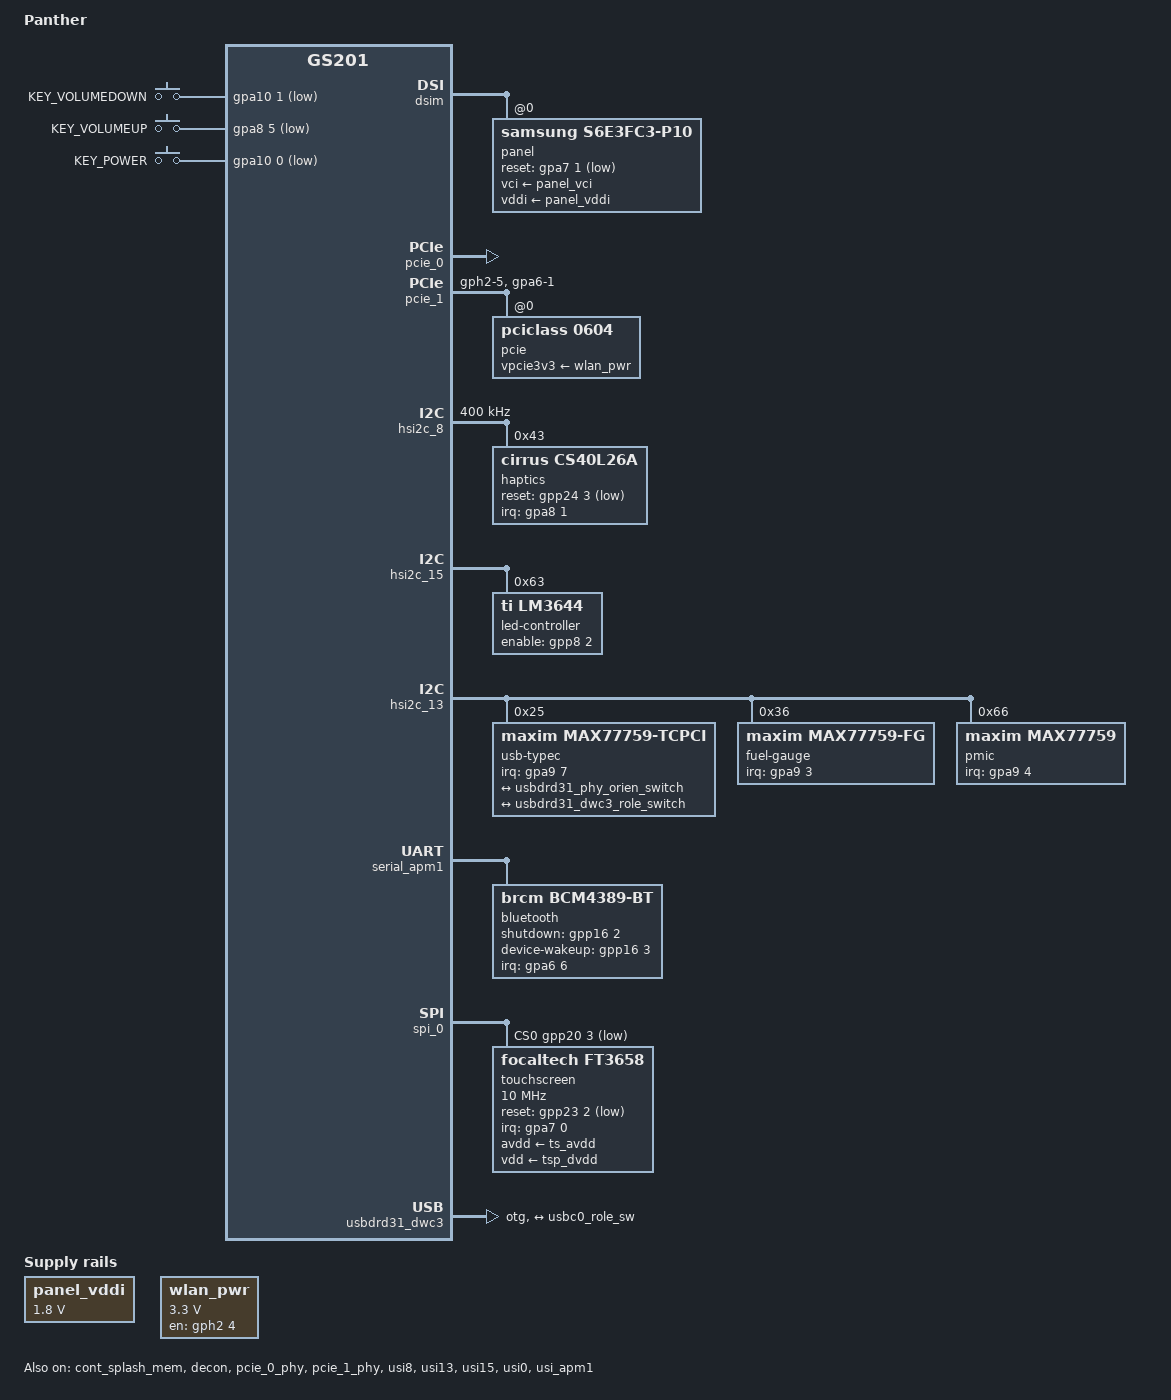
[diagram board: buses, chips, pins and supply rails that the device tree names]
// SPDX-License-Identifier: GPL-2.0-only
/*
 * Panther Device Tree
 *
 * Copyright 2021-2023 Google LLC
 * Copyright 2023 Linaro Ltd - <peter.griffin@linaro.org>
 */

/dts-v1/;

#include <dt-bindings/gpio/gpio.h>
#include <dt-bindings/input/input.h>
#include <dt-bindings/interrupt-controller/irq.h>
#include <dt-bindings/leds/common.h>
#include <dt-bindings/soc/samsung,exynos-usi.h>
#include <dt-bindings/usb/pd.h>
#include "gs101-pinctrl.h"
#include "gs201-pixel-common.dtsi"

/ {
	model = "Panther";
	compatible = "google,gs201-panther", "google,gs201";

	/*
	 * The bootloader picks the base DTB whose soc_id matches the product
	 * id (0x09855000) ORed with the major revision of the chip. Retail
	 * units are B0, which is revision 1.
	 */
	soc_id = <0x09855001 0x0>;

	gpio-keys {
		compatible = "gpio-keys";
		pinctrl-0 = <&key_voldown>, <&key_volup>, <&key_power>;
		pinctrl-names = "default";

		button-vol-down {
			label = "KEY_VOLUMEDOWN";
			linux,code = <KEY_VOLUMEDOWN>;
			gpios = <&gpa10 1 GPIO_ACTIVE_LOW>;
			wakeup-source;
		};

		button-vol-up {
			label = "KEY_VOLUMEUP";
			linux,code = <KEY_VOLUMEUP>;
			gpios = <&gpa8 5 GPIO_ACTIVE_LOW>;
			wakeup-source;
		};

		button-power {
			label = "KEY_POWER";
			linux,code = <KEY_POWER>;
			gpios = <&gpa10 0 GPIO_ACTIVE_LOW>;
			wakeup-source;
		};
	};

	reboot-mode {
		compatible = "nvmem-reboot-mode";
		nvmem-cells = <&nvmem_reboot_mode>;
		nvmem-cell-names = "reboot-mode";
		mode-bootloader = <0x800000fc>;
		mode-charge = <0x8000000a>;
		mode-dm-verity-device-corrupted = <0x80000050>;
		mode-fastboot = <0x800000fa>;
		mode-reboot-ab-update = <0x80000052>;
		mode-recovery = <0x800000ff>;
		mode-rescue = <0x800000f9>;
		mode-shutdown-thermal = <0x80000051>;
		mode-shutdown-thermal-battery = <0x80000051>;
	};

	/*
	 * TODO: This is BUCKA of the S2MPG13 sub-PMIC, which stays on and is
	 * not driven by Linux yet.
	 */
	panel_vddi: regulator-panel-vddi {
		compatible = "regulator-fixed";
		regulator-name = "panel_vddi";
		regulator-min-microvolt = <1800000>;
		regulator-max-microvolt = <1800000>;
		regulator-always-on;
	};

	wlan_pwr: regulator-wlan {
		compatible = "regulator-fixed";
		regulator-name = "wlan-reg-on";
		regulator-min-microvolt = <3300000>;
		regulator-max-microvolt = <3300000>;
		gpio = <&gph2 4 GPIO_ACTIVE_HIGH>;
		enable-active-high;
		startup-delay-us = <200000>;
		pinctrl-0 = <&wlan_reg_on>;
		pinctrl-names = "default";
	};

	cp-shmem {
		compatible = "samsung,exynos-cp-shmem";
		cp_num = <0>;
		use_mem_map_on_cp = <0>;
		regions {
			ipc {
				region,name = "IPC";
				region,index = <3>;
				region,rmem = <0>;
				region,offset = <0>;
				region,size = <0x800000>;
				region,cached = <1>;
			};

			msi {
				region,name = "MSI";
				region,index = <11>;
				region,rmem = <1>;
				region,offset = <0>;
				region,size = <0x1000>;
				region,cached = <0>;
			};

			pktproc {
				region,name = "PKTPROC";
				region,index = <7>;
				region,rmem = <2>;
				region,offset = <0>;
				region,size = <0x1c00000>;
			};

			pktproc-ul {
				region,name = "PKTPROC_UL";
				region,index = <8>;
				region,rmem = <2>;
				region,offset = <0x1c00000>;
				region,size = <0x400000>;
			};
		};
	};

	cpif {
		compatible = "samsung,exynos-cp";
		pci_ch_num = <0>;
		pci_db_addr = <0x14e60000>;
		mif,name = "s5300";
		mif,cp_num = <0>;
		mif,modem_type = <1>;
		mif,protocol = <1>;
		mif,ipc_version = <0x32>;
		mif,link_type = <1>;
		mif,link_name = "PCIE";
		mif,link_attrs = <0x17c8>;
		mif,interrupt_types = <1>;
		mif,capability_check = <1>;
		mif,int_ap2cp_msg = <0>;
		mif,int_ap2cp_wakeup = <1>;
		mif,int_ap2cp_status = <2>;
		mif,int_ap2cp_active = <3>;
		mif,int_ap2cp_lcd_status = <4>;
		mif,int_ap2cp_pcie_link_ack = <14>;
		mif,int_ap2cp_uart_noti = <15>;
		mif,irq_cp2ap_msg = <0>;
		mif,irq_cp2ap_status = <2>;
		mif,irq_cp2ap_active = <3>;
		mif,irq_cp2ap_wakelock = <8>;
		mif,irq_cp2ap_ratmode = <9>;
		mif,cp2ap_active_not_alive = <0>;
		legacy_fmt_head_tail_offset = <0x8>;
		legacy_fmt_buffer_offset = <0x1000>;
		legacy_fmt_txq_size = <0x1000>;
		legacy_fmt_rxq_size = <0x1000>;
		legacy_raw_head_tail_offset = <0x18>;
		legacy_raw_buffer_offset = <0x3000>;
		legacy_raw_txq_size = <0x1fd000>;
		legacy_raw_rxq_size = <0x200000>;
		legacy_raw_rx_buffer_cached = <0>;
		offset_srinfo_offset = <0x64>;
		offset_capability_offset = <0x70>;
		offset_boot_indicator = <0x90>;
		srinfo_offset = <0x400000>;
		srinfo_size = <0x300000>;
		capability_offset = <0xa0>;
		ap_capability_0 = <0>;
		ap_capability_1 = <0>;
		ap2cp_msg = <2 0x800>;
		cp2ap_msg = <2 0x804>;
		ap2cp_united_status = <2 0x808>;
		cp2ap_united_status = <2 0x80c>;
		ap2cp_kerneltime = <2 0x824>;
		ap2cp_handover_block_info = <2 0x82c>;
		sbi_lcd_status_mask = <0x1>;
		sbi_lcd_status_pos = <27>;
		sbi_crash_type_mask = <0xf>;
		sbi_crash_type_pos = <23>;
		sbi_uart_noti_mask = <0x1>;
		sbi_uart_noti_pos = <16>;
		sbi_ds_det_mask = <0x3>;
		sbi_ds_det_pos = <14>;
		sbi_pda_active_mask = <0x1>;
		sbi_pda_active_pos = <5>;
		sbi_ap_status_mask = <0xf>;
		sbi_ap_status_pos = <1>;
		sbi_cp_rat_mode_mask = <0x3f>;
		sbi_cp_rat_mode_pos = <26>;
		sbi_cp2ap_wakelock_mask = <0x1>;
		sbi_cp2ap_wakelock_pos = <6>;
		sbi_lte_active_mask = <0x1>;
		sbi_lte_active_pos = <5>;
		sbi_cp_status_mask = <0xf>;
		sbi_cp_status_pos = <1>;
		sbi_ap2cp_kerneltime_sec_mask = <0xfff>;
		sbi_ap2cp_kerneltime_sec_pos = <20>;
		sbi_ap2cp_kerneltime_usec_mask = <0xfffff>;
		sbi_ap2cp_kerneltime_usec_pos = <0>;
		pktproc_use_36bit_addr = <0>;
		pktproc_cp_base = <0x0 0x20000000>;

		pktproc_dl_support = <1>;
		pktproc_dl_version = <2>;
		pktproc_dl_info_rgn_offset = <0x0>;
		pktproc_dl_info_rgn_size = <0x1000>;
		pktproc_dl_desc_rgn_offset = <0x1000>;
		pktproc_dl_desc_rgn_size = <0xff000>;
		pktproc_dl_buff_rgn_offset = <0x100000>;
		pktproc_dl_buff_rgn_size = <0x1b00000>;
		pktproc_dl_info_rgn_cached = <1>;
		pktproc_dl_desc_rgn_cached = <1>;
		pktproc_dl_buff_rgn_cached = <1>;
		pktproc_dl_desc_mode = <1>;
		pktproc_dl_num_queue = <4>;
		pktproc_dl_use_exclusive_irq = <1>;
		pktproc_dl_use_hw_iocc = <1>;
		pktproc_dl_max_packet_size = <0x630>;
		pktproc_dl_use_dedicated_baaw = <0>;

		pktproc_ul_support = <1>;
		pktproc_ul_info_rgn_offset = <0x1c00000>;
		pktproc_ul_info_rgn_size = <0x1000>;
		pktproc_ul_desc_rgn_offset = <0x1c01000>;
		pktproc_ul_desc_rgn_size = <0x8f000>;
		pktproc_ul_buff_rgn_offset = <0x1c90000>;
		pktproc_ul_buff_rgn_size = <0x370000>;
		pktproc_ul_padding_required = <1>;
		pktproc_ul_num_queue = <2>;
		pktproc_ul_max_packet_size = <0x800>;
		pktproc_ul_hiprio_ack_only = <1>;
		pktproc_ul_info_rgn_cached = <1>;
		pktproc_ul_desc_rgn_cached = <1>;
		pktproc_ul_buff_rgn_cached = <1>;
		pktproc_ul_use_hw_iocc = <1>;

		iodevs {
			io_device_0 {
				iod,name = "umts_ipc";
				iod,ch = <0xf5>;
				iod,format = <0>;
				iod,io_type = <1>;
				iod,link_type = <1>;
				iod,attrs = <0x2000>;
				iod,ch_count = <2>;
			};

			io_device_1 {
				iod,name = "umts_rfs0";
				iod,ch = <0x29>;
				iod,format = <1>;
				iod,io_type = <1>;
				iod,link_type = <1>;
				iod,attrs = <0>;
			};

			io_device_2 {
				iod,name = "umts_router";
				iod,ch = <0x15>;
				iod,format = <1>;
				iod,io_type = <1>;
				iod,link_type = <1>;
				iod,attrs = <0>;
			};

			io_device_3 {
				iod,name = "umts_dm0";
				iod,ch = <0x51>;
				iod,format = <1>;
				iod,io_type = <1>;
				iod,link_type = <1>;
				iod,attrs = <0x4000>;
			};

			io_device_4 {
				iod,name = "umts_loopback";
				iod,ch = <0x52>;
				iod,format = <1>;
				iod,io_type = <1>;
				iod,link_type = <1>;
				iod,attrs = <0>;
			};

			io_device_5 {
				iod,name = "rmnet";
				iod,ch = <0xb5>;
				iod,format = <1>;
				iod,io_type = <2>;
				iod,link_type = <1>;
				iod,attrs = <0x2000>;
				iod,ch_count = <30>;
			};

			io_device_6 {
				iod,name = "umts_dummy";
				iod,ch = <0xd3>;
				iod,format = <1>;
				iod,io_type = <2>;
				iod,link_type = <1>;
				iod,attrs = <0>;
			};

			io_device_7 {
				iod,name = "multipdp";
				iod,ch = <0>;
				iod,format = <3>;
				iod,io_type = <3>;
				iod,link_type = <1>;
				iod,attrs = <0>;
			};

			io_device_8 {
				iod,name = "umts_boot0";
				iod,ch = <0xf1>;
				iod,format = <4>;
				iod,io_type = <0>;
				iod,link_type = <1>;
				iod,attrs = <0x200>;
			};

			io_device_9 {
				iod,name = "umts_rcs0";
				iod,ch = <0x5b>;
				iod,format = <0>;
				iod,io_type = <1>;
				iod,link_type = <1>;
				iod,attrs = <0>;
			};

			io_device_10 {
				iod,name = "umts_rcs1";
				iod,ch = <0x5c>;
				iod,format = <1>;
				iod,io_type = <1>;
				iod,link_type = <1>;
				iod,attrs = <0>;
			};

			io_device_11 {
				iod,name = "umts_wfc0";
				iod,ch = <0x5d>;
				iod,format = <0>;
				iod,io_type = <1>;
				iod,link_type = <1>;
				iod,attrs = <0>;
			};

			io_device_12 {
				iod,name = "umts_wfc1";
				iod,ch = <0x5e>;
				iod,format = <1>;
				iod,io_type = <1>;
				iod,link_type = <1>;
				iod,attrs = <0>;
			};

			io_device_13 {
				iod,name = "oem_ipc";
				iod,ch = <0x81>;
				iod,format = <0>;
				iod,io_type = <1>;
				iod,link_type = <1>;
				iod,attrs = <0x2000>;
				iod,ch_count = <8>;
			};

			io_device_14 {
				iod,name = "oem_test";
				iod,ch = <0x89>;
				iod,format = <1>;
				iod,io_type = <1>;
				iod,link_type = <1>;
				iod,attrs = <0>;
			};
		};
	};
};

&acpm_ipc {
	pmic-1 {
		regulators {
			tsp_dvdd: ldo25m {
				regulator-name = "tsp_dvdd";
				regulator-min-microvolt = <1600000>;
				regulator-max-microvolt = <1950000>;
			};

			ts_avdd: ldo26m {
				regulator-name = "ts_avdd";
				regulator-min-microvolt = <2500000>;
				regulator-max-microvolt = <3000000>;
			};

			panel_vci: ldo27m {
				regulator-name = "panel_vci";
				regulator-min-microvolt = <3025000>;
				regulator-max-microvolt = <3025000>;
			};
		};
	};
};

&cont_splash_mem {
	reg = <0x0 0xfac00000 (1080 * 2400 * 4)>;

	status = "okay";
};

&decon {
	status = "okay";
};

&dsim {
	status = "okay";

	panel@0 {
		compatible = "samsung,s6e3fc3-p10", "samsung,s6e3fc3";
		reg = <0>;

		reset-gpios = <&gpa7 1 GPIO_ACTIVE_LOW>;
		vci-supply = <&panel_vci>;
		vddi-supply = <&panel_vddi>;
	};
};

&framebuffer0 {
	width = <1080>;
	height = <2400>;
	stride = <(1080 * 4)>;
	format = "a8r8g8b8";

	status = "okay";
};

&pcie_0 {
	status = "okay";

	modem {
		compatible = "samsung,s5300-modem";
		memory-region = <&cp_rmem>, <&cp_msi_rmem>, <&cp_rmem1>;
		ap2cp-pda-active-gpios = <&gph1 1 GPIO_ACTIVE_HIGH>;
		ap2cp-cp-pwr-on-gpios = <&gph1 2 GPIO_ACTIVE_HIGH>;
		ap2cp-nreset-gpios = <&gph1 3 GPIO_ACTIVE_HIGH>;
		ap2cp-cp-wrst-gpios = <&gph1 6 GPIO_ACTIVE_HIGH>;
		ap2cp-pm-wrst-gpios = <&gpa0 3 GPIO_ACTIVE_HIGH>;
		ap2cp-wakeup-gpios = <&gph0 2 GPIO_ACTIVE_HIGH>;
		ap2cp-dump-noti-gpios = <&gph0 3 GPIO_ACTIVE_HIGH>;
		cp2ap-cp-wrst-gpios = <&gpa0 2 GPIO_ACTIVE_HIGH>;
		cp2ap-ps-hold-gpios = <&gpa8 2 GPIO_ACTIVE_HIGH>;
		cp2ap-wakeup-gpios = <&gpa8 3 GPIO_ACTIVE_HIGH>;
		cp2ap-phone-active-gpios = <&gpa8 4 GPIO_ACTIVE_HIGH>;
		status = "disabled";
	};
};

&pcie_0_phy {
	status = "okay";
};

&pcie_1 {
	pinctrl-0 = <&pcie1_clkreq>, <&pcie1_perst>, <&wlan_dev_wake>,
		    <&wlan_host_wake>;
	pinctrl-names = "default";

	status = "okay";

	pcie@0,0 {
		compatible = "pciclass,0604";
		device_type = "pci";
		reg = <0x0 0x0 0x0 0x0 0x0>;
		bus-range = <0x01 0xff>;
		#address-cells = <3>;
		#size-cells = <2>;
		ranges;
		vpcie3v3-supply = <&wlan_pwr>;

		wifi@0,0 {
			compatible = "pci14e4,4441";
			reg = <0x10000 0x0 0x0 0x0 0x0>;
			brcm,board-type = "google,gs201-panther";
			memory-region = <&wifi_dma_pool>;
		};
	};
};

&pcie_1_phy {
	status = "okay";
};

&pinctrl_far_alive {
	hapt_amp_irq: hapt-amp-irq-pins {
		samsung,pins = "gpa8-1";
		samsung,pin-function = <GS101_PIN_FUNC_EINT>;
		samsung,pin-pud = <GS101_PIN_PULL_NONE>;
		samsung,pin-drv = <GS101_PIN_DRV_2_5_MA>;
	};

	bt_host_wake: bt-host-wake-pins {
		samsung,pins = "gpa6-6";
		samsung,pin-function = <GS101_PIN_FUNC_EINT>;
		samsung,pin-pud = <GS101_PIN_PULL_DOWN>;
		samsung,pin-drv = <GS101_PIN_DRV_2_5_MA>;
	};

	key_volup: key-volup-pins {
		samsung,pins = "gpa8-5";
		samsung,pin-function = <GS101_PIN_FUNC_EINT>;
		samsung,pin-pud = <GS101_PIN_PULL_NONE>;
		samsung,pin-drv = <GS101_PIN_DRV_2_5_MA>;
	};

	ts_irq: ts-irq-pins {
		samsung,pins = "gpa7-0";
		samsung,pin-function = <GS101_PIN_FUNC_EINT>;
		samsung,pin-pud = <GS101_PIN_PULL_UP>;
		samsung,pin-drv = <GS101_PIN_DRV_2_5_MA>;
	};
	wlan_host_wake: wlan-host-wake-pins {
		samsung,pins = "gpa6-1";
		samsung,pin-function = <GS101_PIN_FUNC_EINT>;
		samsung,pin-pud = <GS101_PIN_PULL_DOWN>;
		samsung,pin-drv = <GS101_PIN_DRV_2_5_MA>;
	};

};

&pinctrl_gpio_alive {
	key_power: key-power-pins {
		samsung,pins = "gpa10-0";
		samsung,pin-function = <GS101_PIN_FUNC_EINT>;
		samsung,pin-pud = <GS101_PIN_PULL_UP>;
		samsung,pin-drv = <GS101_PIN_DRV_2_5_MA>;
	};

	key_voldown: key-voldown-pins {
		samsung,pins = "gpa10-1";
		samsung,pin-function = <GS101_PIN_FUNC_EINT>;
		samsung,pin-pud = <GS101_PIN_PULL_UP>;
		samsung,pin-drv = <GS101_PIN_DRV_2_5_MA>;
	};

	typec_int: typec-int-pins {
		samsung,pins = "gpa9-7";
		samsung,pin-function = <GS101_PIN_FUNC_EINT>;
		samsung,pin-pud = <GS101_PIN_PULL_UP>;
		samsung,pin-drv = <GS101_PIN_DRV_2_5_MA>;
	};

	if_pmic_int: if-pmic-int-pins {
		samsung,pins = "gpa9-4";
		samsung,pin-function = <GS101_PIN_FUNC_EINT>;
		samsung,pin-pud = <GS101_PIN_PULL_UP>;
		samsung,pin-drv = <GS101_PIN_DRV_2_5_MA>;
	};

	if_pmic_fg_int: if-pmic-fg-int-pins {
		samsung,pins = "gpa9-3";
		samsung,pin-function = <GS101_PIN_FUNC_EINT>;
		samsung,pin-pud = <GS101_PIN_PULL_UP>;
		samsung,pin-drv = <GS101_PIN_DRV_2_5_MA>;
	};
};

&hsi2c_8 {
	clock-frequency = <400000>;

	status = "okay";

	haptics: haptic-driver@43 {
		compatible = "cirrus,cs40l26a";
		reg = <0x43>;
		interrupts-extended = <&gpa8 1 IRQ_TYPE_LEVEL_LOW>;
		reset-gpios = <&gpp24 3 GPIO_ACTIVE_LOW>;
		pinctrl-0 = <&hapt_amp_irq>, <&hapt_amp_rst>;
		pinctrl-names = "default";
		cirrus,boost-peak-microamp = <2500000>;
		cirrus,boost-ctl-microvolt = <11000000>;
		cirrus,vpbr-threshold-microvolt = <3008000>;
		cirrus,lra-f0-hz = <145>;
		cirrus,lra-redc-micro-ohms = <13000000>;
	};
};

&hsi2c_15 {
	status = "okay";

	led-controller@63 {
		compatible = "ti,lm3644";
		reg = <0x63>;
		enable-gpios = <&gpp8 2 GPIO_ACTIVE_HIGH>;

		led {
			function = LED_FUNCTION_FLASH;
			color = <LED_COLOR_ID_WHITE>;
			led-sources = <1>, <2>;
			led-max-microamp = <89300>;
			flash-max-microamp = <729000>;
			flash-max-timeout-us = <400000>;
		};
	};
};

&hsi2c_13 {
	status = "okay";

	usb-typec@25 {
		compatible = "maxim,max77759-tcpci", "maxim,max33359";
		reg = <0x25>;
		interrupts-extended = <&gpa9 7 IRQ_TYPE_LEVEL_LOW>;
		pinctrl-0 = <&typec_int>;
		pinctrl-names = "default";

		connector {
			compatible = "usb-c-connector";
			label = "USB-C";
			data-role = "dual";
			power-role = "dual";
			self-powered;
			try-power-role = "sink";
			op-sink-microwatt = <2600000>;
			source-pdos = <PDO_FIXED(5000, 900,
						 (PDO_FIXED_SUSPEND
						  | PDO_FIXED_USB_COMM
						  | PDO_FIXED_DATA_SWAP
						  | PDO_FIXED_DUAL_ROLE))>;
			sink-pdos = <PDO_FIXED(5000, 3000,
					       (PDO_FIXED_DATA_SWAP
						| PDO_FIXED_USB_COMM
						| PDO_FIXED_HIGHER_CAP
						| PDO_FIXED_DUAL_ROLE))
				     PDO_FIXED(9000, 2200, 0)>;
			typec-power-opmode = "default";

			ports {
				#address-cells = <1>;
				#size-cells = <0>;

				port@0 {
					reg = <0>;

					usbc0_orien_sw: endpoint {
						remote-endpoint = <&usbdrd31_phy_orien_switch>;
					};
				};

				port@1 {
					reg = <1>;

					usbc0_role_sw: endpoint {
						remote-endpoint = <&usbdrd31_dwc3_role_switch>;
					};
				};
			};
		};
	};

	fuel-gauge@36 {
		compatible = "maxim,max77759-fg";
		reg = <0x36>;
		interrupts-extended = <&gpa9 3 IRQ_TYPE_LEVEL_LOW>;
		pinctrl-0 = <&if_pmic_fg_int>;
		pinctrl-names = "default";
		shunt-resistor-micro-ohms = <5000>;
	};

	pmic@66 {
		compatible = "maxim,max77759";
		reg = <0x66>;
		interrupts-extended = <&gpa9 4 IRQ_TYPE_LEVEL_LOW>;
		pinctrl-0 = <&if_pmic_int>;
		pinctrl-names = "default";
		interrupt-controller;
		#interrupt-cells = <2>;

		gpio {
			compatible = "maxim,max77759-gpio";
			gpio-controller;
			#gpio-cells = <2>;
			interrupt-controller;
			#interrupt-cells = <2>;
		};

		nvmem-0 {
			compatible = "maxim,max77759-nvmem";

			nvmem-layout {
				compatible = "fixed-layout";
				#address-cells = <1>;
				#size-cells = <1>;

				nvmem_reboot_mode: reboot-mode@0 {
					reg = <0x0 0x4>;
				};

				boot-reason@4 {
					reg = <0x4 0x4>;
				};

				shutdown-user-flag@8 {
					reg = <0x8 0x1>;
				};

				rsoc@a {
					reg = <0xa 0x2>;
				};
			};
		};
	};
};

&pinctrl_hsi2 {
	wlan_reg_on: wlan-reg-on-pins {
		samsung,pins = "gph2-4";
		samsung,pin-function = <GS101_PIN_FUNC_OUTPUT>;
		samsung,pin-pud = <GS101_PIN_PULL_NONE>;
		samsung,pin-drv = <GS101_PIN_DRV_2_5_MA>;
		samsung,pin-con-pdn = <GS101_PIN_PDN_PREV>;
		samsung,pin-pud-pdn = <GS101_PIN_PULL_NONE>;
	};

	wlan_dev_wake: wlan-dev-wake-pins {
		samsung,pins = "gph2-5";
		samsung,pin-function = <GS101_PIN_FUNC_INPUT>;
		samsung,pin-pud = <GS101_PIN_PULL_DOWN>;
		samsung,pin-drv = <GS101_PIN_DRV_2_5_MA>;
		samsung,pin-con-pdn = <GS101_PIN_PDN_PREV>;
		samsung,pin-pud-pdn = <GS101_PIN_PULL_DOWN>;
	};
};

&pinctrl_hsi1 {
	/*
	 * The touchscreen SPI bus is shared with the AoC, which takes it while
	 * this line is high. Keep the bus on the AP side.
	 */
	ts_spi_sel: ts-spi-sel-pins {
		samsung,pins = "gph1-0";
		samsung,pin-function = <GS101_PIN_FUNC_OUTPUT>;
		samsung,pin-val = <0>;
		samsung,pin-pud = <GS101_PIN_PULL_NONE>;
		samsung,pin-drv = <GS101_PIN_DRV_2_5_MA>;
	};
};

&pinctrl_peric0 {
	bt_reg_on: bt-reg-on-pins {
		samsung,pins = "gpp16-2";
		samsung,pin-function = <GS101_PIN_FUNC_OUTPUT>;
		samsung,pin-pud = <GS101_PIN_PULL_NONE>;
		samsung,pin-drv = <GS101_PIN_DRV_2_5_MA>;
	};

	bt_dev_wake: bt-dev-wake-pins {
		samsung,pins = "gpp16-3";
		samsung,pin-function = <GS101_PIN_FUNC_OUTPUT>;
		samsung,pin-pud = <GS101_PIN_PULL_NONE>;
		samsung,pin-drv = <GS101_PIN_DRV_2_5_MA>;
	};
};

&pinctrl_peric1 {
	hapt_amp_rst: hapt-amp-rst-pins {
		samsung,pins = "gpp24-3";
		samsung,pin-function = <GS101_PIN_FUNC_OUTPUT>;
		samsung,pin-pud = <GS101_PIN_PULL_NONE>;
		samsung,pin-drv = <GS101_PIN_DRV_2_5_MA>;
	};

	ts_reset: ts-reset-pins {
		samsung,pins = "gpp23-2";
		samsung,pin-function = <GS101_PIN_FUNC_OUTPUT>;
		samsung,pin-pud = <GS101_PIN_PULL_NONE>;
		samsung,pin-drv = <GS101_PIN_DRV_2_5_MA>;
	};
};

&reserved_memory {
	linux,cma {
		compatible = "shared-dma-pool";
		reusable;
		size = <0x10000000>;
		/* DPP DMA addresses are 32 bits wide */
		alloc-ranges = <0x0 0x80000000 0x80000000>;
		linux,cma-default;
	};
	wifi_dma_pool: wifi-dma-pool {
		compatible = "restricted-dma-pool";
		size = <0x1000000>;
		alignment = <0x0 0x200000>;
		alloc-ranges = <0x0 0x80000000 0x80000000>;
	};

};

&serial_apm1 {
	status = "okay";

	bluetooth {
		compatible = "brcm,bcm4389-bt";
		shutdown-gpios = <&gpp16 2 GPIO_ACTIVE_HIGH>;
		device-wakeup-gpios = <&gpp16 3 GPIO_ACTIVE_HIGH>;
		interrupts-extended = <&gpa6 6 IRQ_TYPE_EDGE_RISING>;
		interrupt-names = "host-wakeup";
		pinctrl-0 = <&bt_reg_on &bt_dev_wake &bt_host_wake>;
		pinctrl-names = "default";
		max-speed = <3000000>;
	};
};

&spi_0 {
	cs-gpios = <&gpp20 3 GPIO_ACTIVE_LOW>;
	pinctrl-0 = <&spi0_bus &spi0_cs_func>;

	status = "okay";

	touchscreen@0 {
		compatible = "focaltech,ft3658";
		reg = <0>;
		spi-max-frequency = <10000000>;
		interrupt-parent = <&gpa7>;
		interrupts = <0 IRQ_TYPE_EDGE_FALLING>;
		pinctrl-0 = <&ts_irq &ts_reset &ts_spi_sel>;
		pinctrl-names = "default";
		reset-gpios = <&gpp23 2 GPIO_ACTIVE_LOW>;
		avdd-supply = <&ts_avdd>;
		vdd-supply = <&tsp_dvdd>;
		touchscreen-size-x = <1080>;
		touchscreen-size-y = <2400>;
	};
};

&usi8 {
	samsung,mode = <USI_MODE_I2C>;

	status = "okay";
};

&usi13 {
	samsung,mode = <USI_MODE_I2C>;

	status = "okay";
};

&usi15 {
	samsung,mode = <USI_MODE_I2C>;

	status = "okay";
};

&usi0 {
	samsung,mode = <USI_MODE_SPI>;

	status = "okay";
};

&usi_apm1 {
	samsung,mode = <USI_MODE_UART>;

	status = "okay";
};

&usbdrd31_dwc3 {
	dr_mode = "otg";
	usb-role-switch;
	role-switch-default-mode = "peripheral";

	port {
		usbdrd31_dwc3_role_switch: endpoint {
			remote-endpoint = <&usbc0_role_sw>;
		};
	};
};

&usbdrd31_phy {
	orientation-switch;

	port {
		usbdrd31_phy_orien_switch: endpoint {
			remote-endpoint = <&usbc0_orien_sw>;
		};
	};
};
